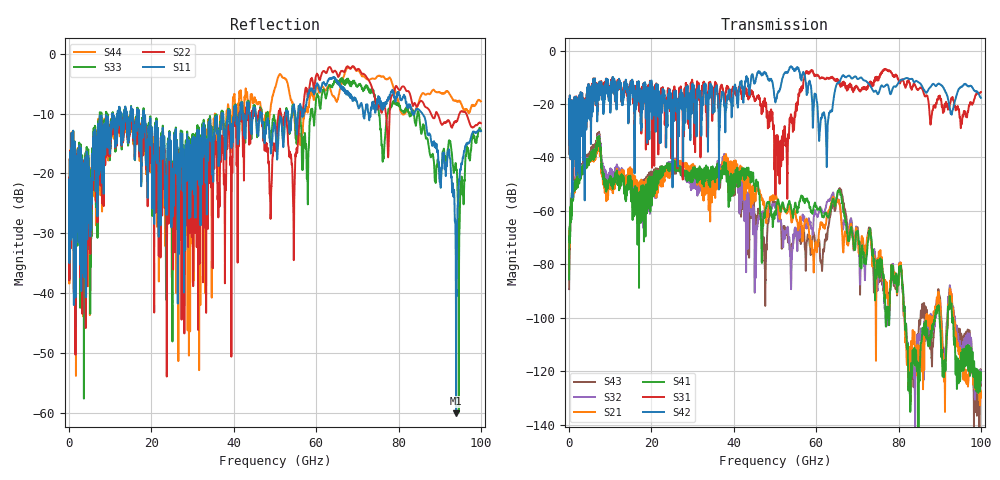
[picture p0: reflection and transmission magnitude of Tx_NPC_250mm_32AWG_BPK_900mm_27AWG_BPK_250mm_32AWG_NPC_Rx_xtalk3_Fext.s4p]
! Info: Touchstone file created by Circ.  Input file=Tx_NPC_250mm_32AWG_BPK_900mm_27AWG_BPK_250mm_32AWG_NPC_Rx.circ
# Hz S RI R 50
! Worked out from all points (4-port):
!   10000 points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, 10 MHz to 100 GHz, reference 50 ohm
!   strongest paths, dB at 10 MHz, 25.01 GHz, 50.01 GHz, 75.01 GHz, 100 GHz:
!     S42: -27.5, -19.4, -18.3, -16.3, -17.6
!     S31: -27.5, -26.4, -35.9, -10.4, -15.5
!     S41: -85.6, -42.4, -60.1, -83.5, -123.3
!     S21: -82.0, -42.9, -55.5, -79.7, -129.9
!     S32: -81.0, -41.6, -58.7, -87.2, -124.3
!     S43: -89.3, -43.3, -58.5, -86.2, -125.4
!   lowest |S11| = -60.1 dB at 93.97 GHz (marker M1), VSWR 1.00, Z = 49.9 + j0.00899 ohm
!   |S11| at or under -10 dB: start of sweep to 10.57 GHz; 18.11 GHz to 37.03 GHz (18.92 GHz wide, 68.6 % of centre); 85.77 GHz to end of sweep (the widest 3 of 52)
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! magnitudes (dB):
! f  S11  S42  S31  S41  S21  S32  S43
! 10 MHz  -23.0  -27.5  -27.5  -85.6  -82.0  -81.0  -89.3
! 6.97 GHz  -23.7  -17.1  -16.1  -32.7  -33.9  -32.5  -31.4
! 42.9 GHz  -11.0  -11.2  -16.0  -47.5  -52.0  -57.5  -60.1
! 51.17 GHz  -10.9  -14.5  -42.3  -58.6  -62.9  -63.9  -62.5
! 64.22 GHz  -4.1  -18.2  -10.3  -55.6  -54.8  -53.5  -56.9
! 93.97 GHz  -60.1  -17.1  -21.6  -115.4  -105.5  -103.4  -104.1
! 100 GHz  -12.9  -17.6  -15.5  -123.3  -129.9  -124.3  -125.4
